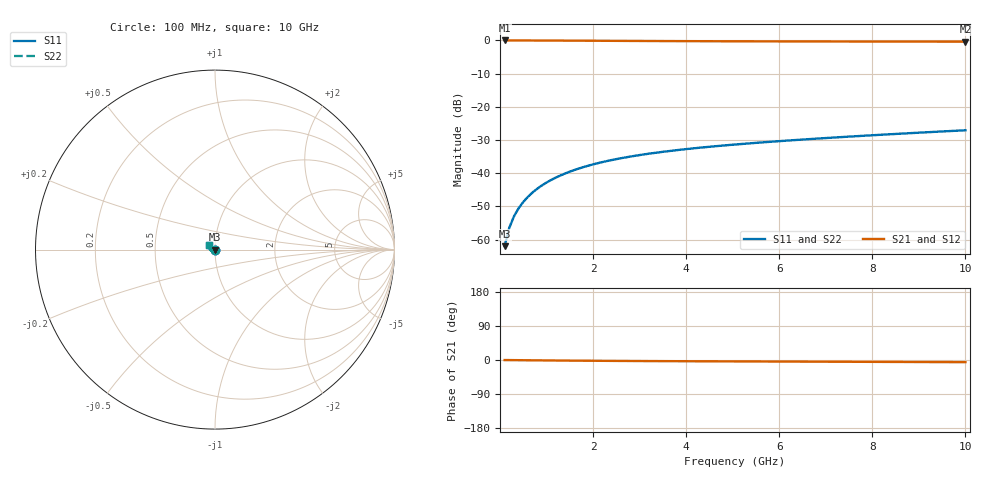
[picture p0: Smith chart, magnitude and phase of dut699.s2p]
! Touchstone file exported from HFSS 2024.1.0
!  File:  C:/UserFiles/LocalFiles/RDL_TSV_Batchsim/temp_TSV1_699_1779796882.aedt
!  Generated:  08:06:55 PM May 26, 2026
!  Design:  TSV1
!  Project:  temp_TSV1_699_1779796882
!  Setup:  Setup1
!  Solution:  Sweep
! Variables:
!  dtsv = 7um
!  hbump = 3um
!  htsv = 83.62um
!  lrdl = 252.1521522um
!  p = 40
!  p1 = 58.73um
!  t = 500um
!  trdl = 3um
!  wrdl = 24.89489489um
# GHz S MA R 50.000000
! Terminal data exported
! Port[1] = TSV22_T1
! Port[2] = TSV22_T2
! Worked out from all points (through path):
!   100 points, 100 MHz to 10 GHz, reference 50 ohm
!   highest |S21| = 0.00 dB at 100 MHz (marker M1); lowest = -0.4 dB at 10 GHz (marker M2)
!   lowest |S11| = -62.0 dB at 100 MHz (marker M3), VSWR 1.00, Z = 50 - j0.0753 ohm
!   |S11| at or under -10 dB: start of sweep to end of sweep
!   |S22| runs from -62.0 to -27.1 dB; largest |S21 - S12| = 3e-15
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0.1  0.0007987 -70.4  0.9997 -0.1  0.9997 -0.1  0.0007987 -70.4
! Gamma 0 0 0 0
! Port Impedance 50 0 50 0
0.2  0.00151 -83.4  0.9996 -0.2  0.9996 -0.2  0.00151 -83.4
0.3  0.002237 -89.6  0.9994 -0.4  0.9994 -0.4  0.002237 -89.6
0.4  0.002967 -94.0  0.9992 -0.5  0.9992 -0.5  0.002967 -94.0
0.5  0.003694 -97.5  0.9989 -0.6  0.9989 -0.6  0.003694 -97.5
0.6  0.004418 -100.7  0.9985 -0.7  0.9985 -0.7  0.004418 -100.7
0.7  0.005136 -103.6  0.9981 -0.8  0.9981 -0.8  0.005136 -103.6
0.8  0.005848 -106.4  0.9976 -0.9  0.9976 -0.9  0.005848 -106.4
0.9  0.006553 -109.0  0.9971 -1.0  0.9971 -1.0  0.006553 -109.0
1.1  0.007935 -114.1  0.996 -1.2  0.996 -1.2  0.007935 -114.1
1.4  0.009931 -121.2  0.9941 -1.5  0.9941 -1.5  0.009931 -121.2
1.6  0.0112 -125.6  0.9927 -1.7  0.9927 -1.7  0.0112 -125.6
1.8  0.01243 -129.9  0.9912 -1.9  0.9912 -1.9  0.01243 -129.9
2.1  0.01417 -136.1  0.9889 -2.1  0.9889 -2.1  0.01417 -136.1
2.5  0.01633 -143.8  0.9859 -2.4  0.9859 -2.4  0.01633 -143.8
2.9  0.01832 -150.8  0.983 -2.6  0.983 -2.6  0.01832 -150.8
3.4  0.0206 -158.9  0.9796 -2.9  0.9796 -2.9  0.0206 -158.9
4.2  0.0239 -170.3  0.975 -3.3  0.975 -3.3  0.0239 -170.3
5.1  0.02727 178.8  0.9708 -3.7  0.9708 -3.7  0.02727 178.8
6.7  0.03288 163.4  0.9656 -4.4  0.9656 -4.4  0.03288 163.4
8.4  0.03875 151.1  0.962 -5.1  0.962 -5.1  0.03875 151.1
10  0.04439 142.1  0.9594 -5.7  0.9594 -5.7  0.04439 142.1
